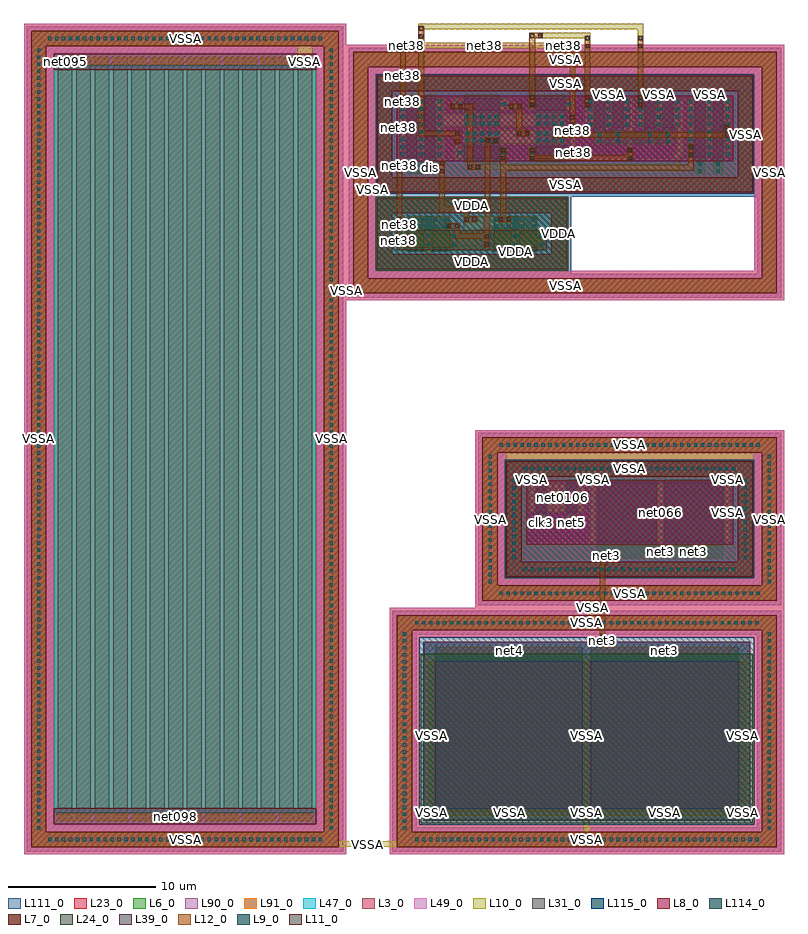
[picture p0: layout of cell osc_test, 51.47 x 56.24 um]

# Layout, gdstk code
import gdstk
lib = gdstk.Library(unit=1e-6, precision=1e-09)
def R(c, l, rs):  # rectangles x0, y0, x1, y1
    for r in rs: c.add(gdstk.rectangle(r[:2], r[2:], *l))
def A(c, l, x, y, w, h, nx, ny, dx, dy):  # array of equal rectangles
    R(c, l, [(x+i*dx, y+j*dy, x+i*dx+w, y+j*dy+h) for i in range(nx) for j in range(ny)])
L3_0 = (3, 0)
L6_0 = (6, 0)
L7_0 = (7, 0)
L8_0 = (8, 0)
L9_0 = (9, 0)
L10_0 = (10, 0)
L11_0 = (11, 0)
L12_0 = (12, 0)
L23_0 = (23, 0)
L24_0 = (24, 0)
L31_0 = (31, 0)
L39_0 = (39, 0)
L47_0 = (47, 0)
L49_0 = (49, 0)
L90_0 = (90, 0)
L91_0 = (91, 0)
L111_0 = (111, 0)
L114_0 = (114, 0)
L115_0 = (115, 0)

osc_testg_ic_cc2_ic_cc3 = lib.new_cell('osc_testG_IC_CC2_IC_CC3')
R(osc_testg_ic_cc2_ic_cc3, L3_0, [(25.27,0.5,50.97,1.5), (25.27,0.5,26.27,16.18), (49.97,0.5,50.97,16.18), (27.37,2.6,27.85,3.08), (27.85,2.6,37.85,3.08), (37.85,2.6,38.33,3.08), (37.91,2.6,38.39,3.08), (38.39,2.6,48.39,3.08), (48.39,2.6,48.87,3.08), (27.37,3.08,27.85,13.08), (27.85,3.08,37.85,13.08), (37.85,3.08,38.33,13.08), (37.91,3.08,38.39,13.08), (38.39,3.08,48.39,13.08), (48.39,3.08,48.87,13.08), (25.27,15.18,50.97,16.18)])
R(osc_testg_ic_cc2_ic_cc3, L6_0, [(27.85,3.08,37.85,13.08), (38.39,3.08,48.39,13.08), (27.85,13.08,37.85,13.58), (38.39,13.08,48.39,13.58), (27.85,13.58,37.85,14), (38.39,13.58,48.39,14)])
R(osc_testg_ic_cc2_ic_cc3, L7_0, [(25.25,0.48,50.99,1.52), (25.25,0.48,26.29,16.2), (49.95,0.48,50.99,16.2), (25.25,15.16,50.99,16.2)])
R(osc_testg_ic_cc2_ic_cc3, L8_0, [(27.07,2.3,38.63,14.38), (37.61,2.3,49.17,14.38)])
R(osc_testg_ic_cc2_ic_cc3, L10_0, [(25.27,0.5,50.97,1.5), (25.27,0.5,26.27,16.18), (49.97,0.5,50.97,16.18), (37.91,1.5,38.33,2.6), (27.37,2.6,27.79,3.02), (27.79,2.6,37.91,3.02), (37.91,2.6,38.33,3.02), (37.91,2.6,38.33,3.02), (38.33,2.6,48.45,3.02), (48.45,2.6,48.87,3.02), (27.37,3.02,27.79,13.08), (37.91,3.02,38.33,13.08), (37.91,3.02,38.33,13.08), (48.45,3.02,48.87,13.08), (28.45,13.58,37.25,14), (38.99,13.58,47.79,14), (25.27,15.18,50.97,16.18)])
R(osc_testg_ic_cc2_ic_cc3, L23_0, [(24.77,0,51.47,2), (24.77,0,26.77,16.68), (49.47,0,51.47,16.68), (24.77,14.68,51.47,16.68)])
R(osc_testg_ic_cc2_ic_cc3, L24_0, [(26.87,2.1,38.83,13.58), (37.41,2.1,49.37,13.58)])
R(osc_testg_ic_cc2_ic_cc3, L39_0, [(27.85,3.08,37.85,13.08), (38.39,3.08,48.39,13.08)])
R(osc_testg_ic_cc2_ic_cc3, L49_0, [(24.77,0,51.47,2), (24.77,0,26.77,16.68), (49.47,0,51.47,16.68), (24.77,14.68,51.47,16.68)])
R(osc_testg_ic_cc2_ic_cc3, L111_0, [(24.95,0.18,51.29,1.82), (24.95,0.18,26.59,16.5), (49.65,0.18,51.29,16.5), (27.05,2.28,38.65,14.4), (37.59,2.28,49.19,14.4), (24.95,14.86,51.29,16.5)])
R(osc_testg_ic_cc2_ic_cc3, L114_0, [(26.77,2,38.93,14.68), (26.77,2,49.47,14.68), (37.31,2,49.47,14.68)])
osc_testg_ic_cc2_ic_cc3.add(gdstk.Label('CC3', (32.85,8.34), layer=44, texttype=1))
osc_testg_ic_cc2_ic_cc3.add(gdstk.Label('CC2', (43.39,8.34), layer=44, texttype=1))

osc_testg_g_it_xnm23_1_i = lib.new_cell('osc_testG_G_IT_XNM23.1_IT_XNM23.2_IT_XNM10_IT_XNM33')
R(osc_testg_g_it_xnm23_1_i, L3_0, [(31.07,17.18,50.97,18.18), (31.07,17.18,32.07,28.22), (49.97,17.18,50.97,28.22), (32.69,18.8,49.35,19.8), (32.69,18.8,33.69,26.6), (48.35,18.8,49.35,26.6), (38.35,21.15,38.83,25.15), (38.83,21.15,42.83,25.15), (42.83,21.15,43.31,25.15), (42.89,21.15,43.37,25.15), (43.37,21.15,47.37,25.15), (47.37,21.15,47.85,25.15), (34.19,23.15,34.67,25.15), (34.67,23.15,35.37,25.15), (35.37,23.15,35.85,25.15), (36.27,23.15,36.75,25.15), (36.75,23.15,37.45,25.15), (37.45,23.15,37.93,25.15), (32.69,25.6,49.35,26.6), (31.07,27.22,50.97,28.22)])
R(osc_testg_g_it_xnm23_1_i, L6_0, [(38.83,20.03,42.83,20.92), (43.37,20.03,47.37,20.92), (38.83,20.92,42.83,21.15), (43.37,20.92,47.37,21.15), (38.83,21.15,42.83,25.15), (43.37,21.15,47.37,25.15), (34.67,22.03,35.37,22.92), (36.75,22.03,37.45,22.92), (34.67,22.92,35.37,23.15), (36.75,22.92,37.45,23.15), (34.67,23.15,35.37,25.15), (36.75,23.15,37.45,25.15), (34.67,25.15,35.37,25.37), (36.75,25.15,37.45,25.37), (38.83,25.15,42.83,25.37), (43.37,25.15,47.37,25.37)])
R(osc_testg_g_it_xnm23_1_i, L7_0, [(31.05,17.16,50.99,18.2), (31.05,17.16,32.09,28.24), (49.95,17.16,50.99,28.24), (32.67,18.78,49.37,19.82), (32.67,18.78,33.71,26.62), (48.33,18.78,49.37,26.62), (32.67,25.58,49.37,26.62), (31.05,27.2,50.99,28.24)])
R(osc_testg_g_it_xnm23_1_i, L8_0, [(34.01,20.97,48.03,25.33), (38.17,20.97,43.49,25.33), (42.71,20.97,48.03,25.33), (34.01,22.97,36.03,25.33), (36.03,22.97,36.09,25.33), (36.09,22.97,38.11,25.33), (38.11,22.97,38.17,25.33)])
A(osc_testg_g_it_xnm23_1_i, L10_0, 35.43, 23.15, 0.42, 2, 3, 1, 0.42, 0)
R(osc_testg_g_it_xnm23_1_i, L10_0, [(31.07,17.18,50.97,18.18), (31.07,17.18,32.07,28.22), (49.97,17.18,50.97,28.22), (32.69,18.8,49.35,19.8), (32.69,18.8,33.69,26.6), (48.35,18.8,49.35,26.6), (38.83,20.03,42.83,20.92), (42.83,20.03,43.37,20.92), (43.37,20.03,47.37,20.92), (38.35,21.15,38.77,25.15), (42.89,21.15,43.31,25.15), (42.89,21.15,43.31,25.15), (47.43,21.15,47.85,25.15), (34.67,22.03,35.37,22.92), (36.75,22.03,37.45,22.92), (34.19,23.15,34.61,25.15), (37.51,23.15,37.93,25.15), (34.19,25.15,34.61,25.6), (38.35,25.15,38.73,25.6), (47.43,25.15,47.81,25.6), (32.69,25.6,49.35,26.6), (32.69,26.6,49.35,27.22), (31.07,27.22,50.97,28.22)])
R(osc_testg_g_it_xnm23_1_i, L23_0, [(30.57,16.68,51.47,18.68), (30.57,16.68,32.57,28.72), (49.47,16.68,51.47,28.72), (32.57,18.68,49.47,26.72), (37.65,20.45,44.01,25.85), (42.19,20.45,48.55,25.85), (33.49,22.45,36.55,25.85), (35.57,22.45,38.63,25.85), (30.57,26.72,51.47,28.72)])
R(osc_testg_g_it_xnm23_1_i, L49_0, [(30.57,16.68,51.47,18.68), (30.57,16.68,32.57,28.72), (49.47,16.68,51.47,28.72), (30.57,26.72,51.47,28.72)])
R(osc_testg_g_it_xnm23_1_i, L111_0, [(30.75,16.86,51.29,18.5), (30.75,16.86,32.39,28.54), (49.65,16.86,51.29,28.54), (32.37,18.48,49.67,26.92), (33.87,20.83,48.17,25.47), (38.03,20.83,43.63,25.47), (42.57,20.83,48.17,25.47), (33.87,22.83,36.17,25.47), (35.95,22.83,38.25,25.47), (30.75,26.9,51.29,28.54)])
R(osc_testg_g_it_xnm23_1_i, L115_0, [(32.57,18.68,49.47,26.72), (37.65,20.45,44.01,25.85), (42.19,20.45,48.55,25.85), (33.49,22.45,36.55,25.85), (35.57,22.45,38.63,25.85)])
osc_testg_g_it_xnm23_1_i.add(gdstk.Label('XNM33', (37.1,23.94), layer=44, texttype=1))
osc_testg_g_it_xnm23_1_i.add(gdstk.Label('XNM10', (35.02,23.94), layer=44, texttype=1))
osc_testg_g_it_xnm23_1_i.add(gdstk.Label('XNM23.1', (40.83,22.94), layer=44, texttype=1))
osc_testg_g_it_xnm23_1_i.add(gdstk.Label('XNM23.2', (45.37,22.94), layer=44, texttype=1))

osc_testsr_rr15_rr16 = lib.new_cell('osc_testSR_RR15_RR16')
R(osc_testsr_rr15_rr16, L3_0, [(0.5,0.5,21.31,1.5), (0.5,0.5,1.5,55.74), (20.31,0.5,21.31,55.74), (0.5,54.74,21.31,55.74)])
A(osc_testsr_rr15_rr16, L6_0, 2.28, 2.28, 1, 0.84, 14, 2, 1.25, 50.84)
A(osc_testsr_rr15_rr16, L6_0, 2.28, 3.12, 1, 50, 14, 1, 1.25, 0)
R(osc_testsr_rr15_rr16, L7_0, [(0.48,0.48,21.33,1.52), (0.48,0.48,1.52,55.76), (20.29,0.48,21.33,55.76), (2.02,2.02,11.04,3.12), (10.77,2.02,19.79,3.12), (2.02,53.12,11.04,54.22), (10.77,53.12,19.79,54.22), (0.48,54.72,21.33,55.76)])
A(osc_testsr_rr15_rr16, L10_0, 2.28, 2.28, 1, 0.5, 14, 2, 1.25, 51.18)
A(osc_testsr_rr15_rr16, L10_0, 3.28, 2.28, 0.25, 0.5, 7, 1, 2.5, 0)
A(osc_testsr_rr15_rr16, L10_0, 4.53, 53.46, 0.25, 0.5, 6, 1, 2.5, 0)
R(osc_testsr_rr15_rr16, L10_0, [(0.5,0.5,21.31,1.5), (0.5,0.5,1.5,55.74), (20.31,0.5,21.31,55.74), (18.53,53.96,19.53,54.74), (0.5,54.74,21.31,55.74)])
R(osc_testsr_rr15_rr16, L23_0, [(0,0,21.81,2), (0,0,2,56.24), (19.81,0,21.81,56.24), (0,54.24,21.81,56.24)])
A(osc_testsr_rr15_rr16, L31_0, 2.28, 3.12, 1, 50, 14, 1, 1.25, 0)
R(osc_testsr_rr15_rr16, L47_0, [(2.06,2.82,11,53.42), (10.81,2.82,19.75,53.42)])
R(osc_testsr_rr15_rr16, L49_0, [(0,0,21.81,2), (0,0,2,56.24), (19.81,0,21.81,56.24), (0,54.24,21.81,56.24)])
R(osc_testsr_rr15_rr16, L90_0, [(2.02,2.02,11.04,54.22), (10.77,2.02,19.79,54.22)])
R(osc_testsr_rr15_rr16, L91_0, [(1.98,3.12,11.08,53.12), (10.73,3.12,19.83,53.12)])
R(osc_testsr_rr15_rr16, L111_0, [(0.18,0.18,21.63,1.82), (0.18,0.18,1.82,56.06), (19.99,0.18,21.63,56.06), (1.82,1.82,1.88,1.88), (1.88,1.82,10.905,1.88), (10.905,1.82,19.93,1.88), (19.93,1.82,19.99,1.88), (1.82,1.88,1.88,54.36), (1.88,1.88,11.18,54.36), (10.63,1.88,19.93,54.36), (19.93,1.88,19.99,54.36), (1.82,54.36,1.88,54.42), (1.88,54.36,10.905,54.42), (10.905,54.36,19.93,54.42), (19.93,54.36,19.99,54.42), (0.18,54.42,21.63,56.06)])
osc_testsr_rr15_rr16.add(gdstk.Label('RR16', (6.53,28.12), layer=44, texttype=1))
osc_testsr_rr15_rr16.add(gdstk.Label('RR15', (15.28,28.12), layer=44, texttype=1))

osc_testxi75 = lib.new_cell('osc_testXI75')
R(osc_testxi75, L3_0, [(22.31,38,50.97,39), (22.31,38,23.31,54.31), (49.97,38,50.97,54.31), (23.93,39.62,36.73,40.62), (23.93,39.62,24.93,44.42), (35.73,39.62,36.73,44.42), (25.43,41.07,25.91,42.07), (25.91,41.07,27.11,42.07), (27.11,41.07,27.27,42.07), (27.27,41.07,27.65,42.07), (27.65,41.07,28.85,42.07), (28.85,41.07,29.33,42.07), (31.33,41.07,31.81,42.07), (31.81,41.07,33.01,42.07), (33.01,41.07,33.39,42.07), (33.39,41.07,33.55,42.07), (33.55,41.07,34.75,42.07), (34.75,41.07,35.23,42.07), (23.93,43.42,36.73,44.42), (23.93,44.84,49.35,45.84), (23.93,44.84,24.93,52.69), (48.35,44.84,49.35,52.69), (29.33,47.1,29.81,47.9), (29.81,47.1,32.21,47.9), (32.21,47.1,32.69,47.9), (34.19,47.1,34.67,47.9), (34.67,47.1,36.67,47.9), (36.67,47.1,37.15,47.9), (25.43,47.19,25.91,51.19), (25.91,47.19,26.61,51.19), (26.61,47.19,26.77,51.19), (26.77,47.19,27.15,51.19), (27.15,47.19,27.85,51.19), (27.85,47.19,28.33,51.19), (44.95,47.19,45.43,51.19), (45.43,47.19,46.13,51.19), (46.13,47.19,46.51,51.19), (46.51,47.19,46.67,51.19), (46.67,47.19,47.37,51.19), (47.37,47.19,47.85,51.19), (38.15,49.19,38.63,51.19), (38.63,49.19,39.33,51.19), (39.33,49.19,39.71,51.19), (39.71,49.19,39.87,51.19), (39.87,49.19,40.57,51.19), (40.57,49.19,41.05,51.19), (41.55,49.19,42.03,51.19), (42.03,49.19,42.73,51.19), (42.73,49.19,42.89,51.19), (42.89,49.19,43.27,51.19), (43.27,49.19,43.97,51.19), (43.97,49.19,44.45,51.19), (29.33,50.39,29.81,51.19), (29.81,50.39,32.21,51.19), (32.21,50.39,32.69,51.19), (34.19,50.39,34.67,51.19), (34.67,50.39,36.67,51.19), (36.67,50.39,37.15,51.19), (23.93,51.69,49.35,52.69), (22.31,53.31,50.97,54.31)])
R(osc_testxi75, L6_0, [(25.91,40.85,27.11,41.07), (27.65,40.85,28.85,41.07), (31.81,40.85,33.01,41.07), (33.55,40.85,34.75,41.07), (25.91,41.07,27.11,42.07), (27.65,41.07,28.85,42.07), (31.81,41.07,33.01,42.07), (33.55,41.07,34.75,42.07), (25.91,42.07,27.11,42.3), (27.65,42.07,28.85,42.3), (31.81,42.07,33.01,42.3), (33.55,42.07,34.75,42.3), (25.91,42.3,27.11,43.19), (27.11,42.3,27.65,43.19), (27.65,42.3,28.85,43.19), (31.81,42.3,33.01,43.19), (33.01,42.3,33.55,43.19), (33.55,42.3,34.75,43.19), (25.91,46.07,26.61,46.96), (26.61,46.07,27.15,46.96), (27.15,46.07,27.85,46.96), (45.43,46.07,46.13,46.96), (46.67,46.07,47.37,46.96), (29.81,46.88,32.21,47.1), (34.67,46.88,36.67,47.1), (25.91,46.96,26.61,47.19), (27.15,46.96,27.85,47.19), (45.43,46.96,46.13,47.19), (46.67,46.96,47.37,47.19), (29.81,47.1,32.21,47.9), (34.67,47.1,36.67,47.9), (25.91,47.19,26.61,51.19), (27.15,47.19,27.85,51.19), (45.43,47.19,46.13,51.19), (46.67,47.19,47.37,51.19), (29.81,47.9,32.21,48.13), (34.67,47.9,36.67,48.13), (38.63,48.07,39.33,48.96), (39.33,48.07,39.87,48.96), (39.87,48.07,40.57,48.96), (40.57,48.07,42.03,48.96), (42.03,48.07,42.73,48.96), (42.73,48.07,43.27,48.96), (43.27,48.07,43.97,48.96), (29.81,48.13,32.21,49.02), (34.67,48.13,36.67,49.02), (38.63,48.96,39.33,49.19), (39.87,48.96,40.57,49.19), (42.03,48.96,42.73,49.19), (43.27,48.96,43.97,49.19), (38.63,49.19,39.33,51.19), (39.87,49.19,40.57,51.19), (42.03,49.19,42.73,51.19), (43.27,49.19,43.97,51.19), (29.81,49.27,32.21,50.16), (34.67,49.27,36.67,50.16), (29.81,50.16,32.21,50.39), (34.67,50.16,36.67,50.39), (29.81,50.39,32.21,51.19), (34.67,50.39,36.67,51.19), (25.91,51.19,26.61,51.41), (27.15,51.19,27.85,51.41), (29.81,51.19,32.21,51.41), (34.67,51.19,36.67,51.41), (38.63,51.19,39.33,51.41), (39.87,51.19,40.57,51.41), (42.03,51.19,42.73,51.41), (43.27,51.19,43.97,51.41), (45.43,51.19,46.13,51.41), (46.67,51.19,47.37,51.41)])
R(osc_testxi75, L7_0, [(22.29,37.98,50.99,39.02), (22.29,37.98,23.33,54.33), (49.95,37.98,50.99,54.33), (25.25,40.89,27.45,42.25), (25.25,40.89,35.41,42.25), (27.09,40.89,29.51,42.25), (31.15,40.89,33.57,42.25), (33.21,40.89,35.41,42.25), (23.91,44.82,49.37,45.86), (23.91,44.82,24.95,52.71), (48.33,44.82,49.37,52.71), (23.91,51.67,49.37,52.71), (22.29,53.29,50.99,54.33)])
R(osc_testxi75, L8_0, [(23.91,39.6,36.75,40.64), (23.91,39.6,24.95,44.44), (35.71,39.6,36.75,44.44), (23.91,43.4,36.75,44.44), (25.25,46.92,48.03,51.37), (29.15,46.92,32.87,48.08), (34.01,46.92,37.33,48.08), (25.25,47.01,26.95,51.37), (26.59,47.01,28.51,51.37), (44.77,47.01,46.69,51.37), (46.33,47.01,48.03,51.37), (37.97,49.01,39.89,51.37), (39.53,49.01,41.23,51.37), (41.37,49.01,43.07,51.37), (42.71,49.01,44.63,51.37), (29.15,50.21,32.87,51.37), (34.01,50.21,37.33,51.37)])
A(osc_testxi75, L9_0, 25.53, 41.17, 0.22, 0.22, 3, 2, 1.74, 0.58)
A(osc_testxi75, L9_0, 31.43, 41.17, 0.22, 0.22, 3, 2, 1.74, 0.58)
A(osc_testxi75, L9_0, 25.53, 47.29, 0.22, 0.22, 3, 6, 1.24, 0.51)
A(osc_testxi75, L9_0, 45.05, 47.29, 0.22, 0.22, 3, 6, 1.24, 0.51)
A(osc_testxi75, L9_0, 29.91, 48.23, 0.22, 0.22, 5, 2, 0.495, 0.47)
A(osc_testxi75, L9_0, 35.3, 48.23, 0.22, 0.22, 3, 2, 0.525, 0.47)
A(osc_testxi75, L9_0, 38.25, 49.29, 0.22, 0.22, 3, 3, 1.24, 0.525)
A(osc_testxi75, L9_0, 41.65, 49.29, 0.22, 0.22, 3, 3, 1.24, 0.525)
A(osc_testxi75, L9_0, 29.91, 49.37, 0.22, 0.22, 5, 2, 0.495, 0.47)
A(osc_testxi75, L9_0, 35.3, 49.37, 0.22, 0.22, 3, 2, 0.525, 0.47)
A(osc_testxi75, L9_0, 25.53, 50.355, 0.22, 0.22, 3, 2, 1.24, 0.515)
A(osc_testxi75, L9_0, 45.05, 50.355, 0.22, 0.22, 3, 2, 1.24, 0.515)
A(osc_testxi75, L9_0, 38.25, 50.87, 0.22, 0.22, 3, 1, 1.24, 0)
A(osc_testxi75, L9_0, 41.65, 50.87, 0.22, 0.22, 3, 1, 1.24, 0)
R(osc_testxi75, L9_0, [(26.01,42.4,26.23,42.62), (26.79,42.4,27.01,42.62), (27.75,42.4,27.97,42.62), (28.53,42.4,28.75,42.62), (31.91,42.4,32.13,42.62), (32.69,42.4,32.91,42.62), (33.65,42.4,33.87,42.62), (34.43,42.4,34.65,42.62), (26.01,42.87,26.23,43.09), (26.79,42.87,27.01,43.09), (27.75,42.87,27.97,43.09), (28.53,42.87,28.75,43.09), (31.91,42.87,32.13,43.09), (32.69,42.87,32.91,43.09), (33.65,42.87,33.87,43.09), (34.43,42.87,34.65,43.09), (26.15,46.17,26.37,46.39), (27.39,46.17,27.61,46.39), (45.67,46.17,45.89,46.39), (46.91,46.17,47.13,46.39), (26.15,46.64,26.37,46.86), (27.39,46.64,27.61,46.86), (45.67,46.64,45.89,46.86), (46.91,46.64,47.13,46.86), (29.43,47.39,29.65,47.61), (32.37,47.39,32.59,47.61), (34.29,47.39,34.51,47.61), (36.83,47.39,37.05,47.61), (38.87,48.17,39.09,48.39), (40.11,48.17,40.33,48.39), (42.27,48.17,42.49,48.39), (43.51,48.17,43.73,48.39), (34.77,48.23,34.99,48.45), (38.87,48.64,39.09,48.86), (40.11,48.64,40.33,48.86), (42.27,48.64,42.49,48.86), (43.51,48.64,43.73,48.86), (34.77,48.7,34.99,48.92), (34.77,49.37,34.99,49.59), (34.77,49.84,34.99,50.06), (29.43,50.68,29.65,50.9), (32.37,50.68,32.59,50.9), (34.29,50.68,34.51,50.9), (36.83,50.68,37.05,50.9)])
A(osc_testxi75, L10_0, 25.43, 41.07, 0.42, 1, 3, 1, 1.74, 0)
A(osc_testxi75, L10_0, 31.33, 41.07, 0.42, 1, 3, 1, 1.74, 0)
A(osc_testxi75, L10_0, 25.43, 47.19, 0.42, 4, 3, 1, 1.24, 0)
A(osc_testxi75, L10_0, 44.95, 47.19, 0.42, 4, 3, 1, 1.24, 0)
A(osc_testxi75, L10_0, 38.15, 49.19, 0.42, 2, 3, 1, 1.24, 0)
A(osc_testxi75, L10_0, 41.55, 49.19, 0.42, 2, 3, 1, 1.24, 0)
A(osc_testxi75, L10_0, 39.39, 51.19, 0.42, 0.5, 3, 1, 3.4, 0)
R(osc_testxi75, L10_0, [(22.31,38,50.97,39), (22.31,38,23.31,54.31), (49.97,38,50.97,54.31), (23.93,39.62,36.73,40.62), (23.93,39.62,24.93,44.42), (35.73,39.62,36.73,44.42), (27.17,40.62,27.59,41.07), (33.07,40.62,33.49,41.07), (25.25,41.07,25.43,42.07), (29.33,41.07,29.51,42.07), (31.15,41.07,31.33,42.07), (29.51,41.18,30.68,42.07), (29.79,41.18,30.68,43.19), (25.25,42.07,25.63,43.19), (25.91,42.3,27.11,43.19), (27.65,42.3,28.85,43.19), (29.79,42.3,33.01,43.19), (31.81,42.3,33.01,43.19), (33.55,42.3,34.75,43.19), (28.61,42.35,29.51,42.73), (23.93,43.42,36.73,44.42), (23.31,44.84,23.93,45.22), (23.93,44.84,49.35,45.84), (23.93,44.84,24.93,52.69), (48.35,44.84,49.35,52.69), (25.25,46.07,25.63,47.19), (25.91,46.07,26.61,46.96), (27.15,46.07,27.85,46.96), (28.13,46.07,28.51,47.19), (45.43,46.07,46.13,46.96), (46.67,46.07,47.37,46.96), (30.03,46.35,44.41,46.73), (30.03,46.35,44.41,46.73), (30.03,46.35,44.41,46.73), (44.03,46.73,44.41,47.62), (32.27,46.96,32.65,47.86), (34.23,46.96,34.61,47.86), (40.85,46.96,41.23,49.19), (29.15,47.1,29.33,47.9), (29.33,47.1,29.75,47.9), (32.27,47.1,32.69,47.9), (34.19,47.1,34.61,47.9), (36.73,47.1,37.15,47.9), (37.15,47.1,37.33,47.9), (25.25,47.19,25.43,51.19), (28.33,47.19,28.51,51.19), (44.99,47.19,45.37,48.14), (44.03,47.24,44.63,47.62), (44.25,47.24,44.63,49.19), (29.15,47.9,29.53,48.99), (36.95,47.9,37.33,50.11), (38.63,48.07,39.33,48.96), (39.87,48.07,40.57,48.96), (42.03,48.07,42.73,48.96), (43.27,48.07,43.97,48.96), (29.81,48.13,32.21,49.02), (32.21,48.13,34.67,49.02), (34.67,48.13,36.67,49.02), (31.21,48.14,32.11,48.52), (35.82,48.53,36.72,48.91), (37.97,49.19,38.15,51.19), (41.05,49.19,41.23,51.19), (44.45,49.19,44.63,51.19), (28.51,49.27,29.81,50.16), (29.81,49.27,32.21,50.16), (32.21,49.27,34.67,50.16), (34.67,49.27,36.67,50.16), (29.15,50.39,29.33,51.19), (29.33,50.39,29.75,51.19), (32.27,50.39,32.69,51.19), (32.69,50.39,32.87,51.19), (34.19,50.39,34.61,51.19), (36.73,50.39,37.15,51.19), (28.85,50.44,29.75,50.82), (32.83,50.44,33.73,50.82), (25.47,50.56,25.85,51.46), (34.23,50.56,34.61,51.46), (37.97,50.56,38.35,51.46), (41.55,50.56,41.93,51.46), (26.67,51.19,27.09,51.69), (23.93,51.69,49.35,52.69), (22.31,53.31,50.97,54.31), (37.97,54.54,38.35,55.44), (41.55,54.54,41.93,55.86), (25.47,54.59,36.97,54.97), (25.47,54.59,36.97,54.97), (25.47,54.59,36.97,54.97), (26.71,55.2,27.09,56.24), (34.23,55.25,38.35,55.63), (34.23,55.25,38.35,55.63), (34.23,55.25,38.35,55.63), (26.71,55.86,41.93,56.24)])
R(osc_testxi75, L11_0, [(31.21,41.18,31.47,41.44), (31.21,41.7,31.47,41.96), (25.31,42.35,25.57,42.61), (28.67,42.41,28.93,42.67), (29.19,42.41,29.45,42.67), (25.31,42.87,25.57,43.13), (29.85,42.87,30.11,43.13), (30.37,42.87,30.63,43.13), (32.17,42.87,32.43,43.13), (32.69,42.87,32.95,43.13), (25.31,46.13,25.57,46.39), (28.19,46.13,28.45,46.39), (30.09,46.41,30.35,46.67), (30.61,46.41,30.87,46.67), (25.31,46.65,25.57,46.91), (28.19,46.65,28.45,46.91), (32.33,47.02,32.59,47.28), (34.29,47.02,34.55,47.28), (40.91,47.02,41.17,47.28), (45.05,47.25,45.31,47.51), (32.33,47.54,32.59,47.8), (34.29,47.54,34.55,47.8), (40.91,47.54,41.17,47.8), (45.05,47.77,45.31,48.03), (29.21,48.15,29.47,48.41), (31.27,48.2,31.53,48.46), (31.79,48.2,32.05,48.46), (35.88,48.59,36.14,48.85), (36.4,48.59,36.66,48.85), (47.49,48.59,47.75,48.85), (29.21,48.67,29.47,48.93), (33.41,48.7,33.67,48.96), (33.93,48.7,34.19,48.96), (47.49,49.11,47.75,49.37), (37.01,49.27,37.27,49.53), (37.01,49.79,37.27,50.05), (28.91,50.5,29.17,50.76), (29.43,50.5,29.69,50.76), (32.89,50.5,33.15,50.76), (33.41,50.5,33.67,50.76), (25.53,50.62,25.79,50.88), (34.29,50.62,34.55,50.88), (38.03,50.62,38.29,50.88), (41.61,50.62,41.87,50.88), (25.53,51.14,25.79,51.4), (34.29,51.14,34.55,51.4), (38.03,51.14,38.29,51.4), (41.61,51.14,41.87,51.4), (38.03,54.6,38.29,54.86), (41.61,54.6,41.87,54.86), (25.53,54.65,25.79,54.91), (26.05,54.65,26.31,54.91), (36.13,54.65,36.39,54.91), (36.65,54.65,36.91,54.91), (38.03,55.12,38.29,55.38), (41.61,55.12,41.87,55.38), (26.77,55.26,27.03,55.52), (34.29,55.31,34.55,55.57), (34.81,55.31,35.07,55.57), (26.77,55.78,27.03,56.04)])
R(osc_testxi75, L12_0, [(31.15,41.12,31.53,42.81), (29.13,41.69,29.51,42.73), (29.13,41.69,31.53,42.07), (25.25,42.29,25.63,46.97), (28.61,42.35,29.51,42.73), (29.79,42.81,30.69,43.19), (29.79,42.81,30.17,43.85), (31.15,42.81,31.59,43.19), (31.21,42.81,31.59,48.52), (32.11,42.81,33.01,43.19), (32.27,42.81,32.65,47.86), (28.13,43.47,28.51,46.97), (28.13,43.47,30.17,43.85), (32.27,46.3,45.37,46.68), (44.99,46.3,45.37,48.09), (30.03,46.35,30.93,46.73), (30.03,46.35,30.41,50.82), (34.23,46.96,34.61,47.86), (34.23,46.96,41.23,47.34), (40.85,46.96,41.23,47.86), (29.15,48.09,29.53,48.99), (31.21,48.14,32.11,48.52), (35.82,48.53,47.81,48.91), (47.43,48.53,47.81,49.43), (26.71,48.61,27.09,56.1), (27.09,48.61,29.53,48.99), (33.35,48.64,34.25,49.02), (33.35,48.64,33.73,50.82), (36.95,49.21,37.33,54.97), (28.85,50.44,30.41,50.82), (32.83,50.44,33.73,50.82), (25.47,50.56,25.85,54.97), (34.23,50.56,34.61,55.63), (37.97,50.56,38.35,55.44), (41.55,50.56,41.93,55.44), (25.47,54.59,26.37,54.97), (36.07,54.59,36.97,54.97), (34.23,55.25,35.13,55.63)])
R(osc_testxi75, L23_0, [(21.81,37.5,51.47,39.5), (21.81,37.5,23.81,54.81), (49.47,37.5,51.47,54.81), (23.81,44.72,49.47,52.81), (28.63,46.4,33.39,48.6), (33.49,46.4,37.85,48.6), (24.73,46.49,27.47,51.89), (26.07,46.49,29.03,51.89), (44.25,46.49,47.21,51.89), (45.81,46.49,48.55,51.89), (37.45,48.49,40.41,51.89), (39.01,48.49,41.75,51.89), (40.85,48.49,43.59,51.89), (42.19,48.49,45.15,51.89), (28.63,49.69,33.39,51.89), (33.49,49.69,37.85,51.89), (21.81,52.81,51.47,54.81)])
R(osc_testxi75, L24_0, [(23.81,39.5,36.85,44.54), (24.73,40.37,27.97,42.77), (26.57,40.37,30.03,42.77), (30.63,40.37,34.09,42.77), (32.69,40.37,35.93,42.77)])
R(osc_testxi75, L49_0, [(21.81,37.5,51.47,39.5), (21.81,37.5,23.81,54.81), (49.47,37.5,51.47,54.81), (21.81,52.81,51.47,54.81)])
R(osc_testxi75, L111_0, [(21.99,37.68,51.29,39.32), (21.99,37.68,23.63,54.63), (49.65,37.68,51.29,54.63), (23.61,39.3,37.05,44.74), (25.11,39.88,35.55,42.39), (25.11,40.75,27.59,42.39), (26.95,40.75,29.65,42.39), (31.01,40.75,33.71,42.39), (33.07,40.75,35.55,42.39), (23.61,44.52,49.67,53.01), (25.11,45.91,48.17,52.38), (29.01,46.78,33.01,48.22), (33.87,46.78,37.47,48.22), (25.11,46.87,27.09,51.51), (26.45,46.87,28.65,51.51), (44.63,46.87,46.83,51.51), (46.19,46.87,48.17,51.51), (37.83,48.87,40.03,51.51), (39.39,48.87,41.37,51.51), (41.23,48.87,43.21,51.51), (42.57,48.87,44.77,51.51), (29.01,50.07,33.01,51.51), (33.87,50.07,37.47,51.51), (21.99,52.99,51.29,54.63)])
R(osc_testxi75, L115_0, [(23.81,39.5,36.85,44.54), (24.73,40.37,27.97,42.77), (26.57,40.37,30.03,42.77), (30.63,40.37,34.09,42.77), (32.69,40.37,35.93,42.77), (23.81,44.72,49.47,52.81), (28.63,46.4,33.39,48.6), (33.49,46.4,37.85,48.6), (24.73,46.49,27.47,51.89), (26.07,46.49,29.03,51.89), (44.25,46.49,47.21,51.89), (45.81,46.49,48.55,51.89), (37.45,48.49,40.41,51.89), (39.01,48.49,41.75,51.89), (40.85,48.49,43.59,51.89), (42.19,48.49,45.15,51.89), (28.63,49.69,33.39,51.89), (33.49,49.69,37.85,51.89)])

osc_test = lib.new_cell('osc_test')
A(osc_test, L9_0, 1.63, 0.89, 0.22, 0.22, 40, 2, 0.47, 54.24)
A(osc_test, L9_0, 26.495, 0.89, 0.22, 0.22, 50, 2, 0.47, 14.68)
A(osc_test, L9_0, 25.66, 1.65, 0.22, 0.22, 1, 29, 0, 0.47)
A(osc_test, L9_0, 50.36, 1.65, 0.22, 0.22, 1, 29, 0, 0.47)
A(osc_test, L9_0, 0.89, 1.69, 0.22, 0.22, 1, 113, 0, 0.47)
A(osc_test, L9_0, 20.7, 1.69, 0.22, 0.22, 1, 113, 0, 0.47)
A(osc_test, L9_0, 32.215, 17.57, 0.22, 0.22, 38, 2, 0.47, 10.04)
A(osc_test, L9_0, 31.46, 18.36, 0.22, 0.22, 1, 19, 0, 0.47)
A(osc_test, L9_0, 50.36, 18.36, 0.22, 0.22, 1, 19, 0, 0.47)
A(osc_test, L9_0, 33.86, 19.19, 0.22, 0.22, 31, 2, 0.47, 6.8)
A(osc_test, L9_0, 33.08, 20.005, 0.22, 0.22, 1, 12, 0, 0.47)
A(osc_test, L9_0, 48.74, 20.005, 0.22, 0.22, 1, 12, 0, 0.47)
R(osc_test, L10_0, [(21.31,0.5,25.27,0.88), (38.99,14,39.37,14.95), (38.33,16.18,38.71,17.18), (38.99,20.03,39.89,20.41), (21.31,38,22.31,38.38)])
R(osc_test, L11_0, [(39.05,14.11,39.31,14.37), (39.05,14.63,39.31,14.89), (39.05,20.09,39.31,20.35), (39.57,20.09,39.83,20.35)])
R(osc_test, L12_0, [(38.99,14.05,39.37,20.41), (38.99,20.03,39.89,20.41)])
osc_test.add(gdstk.Reference(osc_testg_ic_cc2_ic_cc3, (0,0)))
osc_test.add(gdstk.Reference(osc_testg_g_it_xnm23_1_i, (0,0)))
osc_test.add(gdstk.Reference(osc_testsr_rr15_rr16, (0,0)))
osc_test.add(gdstk.Reference(osc_testxi75, (0,0)))
osc_test.add(gdstk.Label('VSSA', (23.29,0.69), layer=10, texttype=1))
osc_test.add(gdstk.Label('VSSA', (38.52,16.68), layer=10, texttype=1))
osc_test.add(gdstk.Label('VSSA', (21.81,38.19), layer=10, texttype=1))
osc_test.add(gdstk.Label('net3', (39.18,14.475), layer=10, texttype=1))
osc_test.add(gdstk.Label('net3', (39.44,20.22), layer=10, texttype=1))
osc_test.add(gdstk.Label('net3', (39.18,17.23), layer=12, texttype=1))
osc_test.add(gdstk.Label('net3', (39.44,20.22), layer=12, texttype=1))
osc_test.add(gdstk.Label('VSSA', (38.12,8.05), layer=10, texttype=1))
osc_test.add(gdstk.Label('VSSA', (38.12,2.81), layer=10, texttype=1))
osc_test.add(gdstk.Label('VSSA', (32.85,2.81), layer=10, texttype=1))
osc_test.add(gdstk.Label('VSSA', (27.58,8.05), layer=10, texttype=1))
osc_test.add(gdstk.Label('VSSA', (27.58,2.81), layer=10, texttype=1))
osc_test.add(gdstk.Label('net4', (32.85,13.79), layer=10, texttype=1))
osc_test.add(gdstk.Label('VSSA', (48.66,8.05), layer=10, texttype=1))
osc_test.add(gdstk.Label('VSSA', (48.66,2.81), layer=10, texttype=1))
osc_test.add(gdstk.Label('VSSA', (43.39,2.81), layer=10, texttype=1))
osc_test.add(gdstk.Label('VSSA', (38.12,8.05), layer=10, texttype=1))
osc_test.add(gdstk.Label('VSSA', (38.12,2.81), layer=10, texttype=1))
osc_test.add(gdstk.Label('net3', (43.39,13.79), layer=10, texttype=1))
osc_test.add(gdstk.Label('VSSA', (38.12,1), layer=10, texttype=1))
osc_test.add(gdstk.Label('VSSA', (50.47,8.34), layer=10, texttype=1))
osc_test.add(gdstk.Label('VSSA', (25.77,8.34), layer=10, texttype=1))
osc_test.add(gdstk.Label('VSSA', (38.12,15.68), layer=10, texttype=1))
osc_test.add(gdstk.Label('VSSA', (38.12,2.05), layer=10, texttype=1))
osc_test.add(gdstk.Label('net0106', (36.48,24.15), layer=10, texttype=1))
osc_test.add(gdstk.Label('net6', (37.72,24.15), layer=10, texttype=1))
osc_test.add(gdstk.Label('net5', (37.1,22.475), layer=10, texttype=1))
osc_test.add(gdstk.Label('VSSA', (34.4,24.15), layer=10, texttype=1))
osc_test.add(gdstk.Label('net0106', (35.64,24.15), layer=10, texttype=1))
osc_test.add(gdstk.Label('clk3', (35.02,22.475), layer=10, texttype=1))
osc_test.add(gdstk.Label('VSSA', (38.56,23.15), layer=10, texttype=1))
osc_test.add(gdstk.Label('net066', (43.1,23.15), layer=10, texttype=1))
osc_test.add(gdstk.Label('net3', (40.83,20.475), layer=10, texttype=1))
osc_test.add(gdstk.Label('VSSA', (47.64,23.15), layer=10, texttype=1))
osc_test.add(gdstk.Label('net066', (43.1,23.15), layer=10, texttype=1))
osc_test.add(gdstk.Label('net3', (45.37,20.475), layer=10, texttype=1))
osc_test.add(gdstk.Label('VSSA', (41.02,26.1), layer=10, texttype=1))
osc_test.add(gdstk.Label('VSSA', (33.19,22.7), layer=10, texttype=1))
osc_test.add(gdstk.Label('VSSA', (48.85,22.7), layer=10, texttype=1))
osc_test.add(gdstk.Label('VSSA', (41.02,19.3), layer=10, texttype=1))
osc_test.add(gdstk.Label('VSSA', (41.02,27.72), layer=10, texttype=1))
osc_test.add(gdstk.Label('VSSA', (31.57,22.7), layer=10, texttype=1))
osc_test.add(gdstk.Label('VSSA', (50.47,22.7), layer=10, texttype=1))
osc_test.add(gdstk.Label('VSSA', (41.02,17.68), layer=10, texttype=1))
osc_test.add(gdstk.Label('net0106', (36.06,24.15), layer=10, texttype=1))
osc_test.add(gdstk.Label('VSSA', (34.4,25.375), layer=10, texttype=1))
osc_test.add(gdstk.Label('VSSA', (41.02,26.91), layer=10, texttype=1))
osc_test.add(gdstk.Label('VSSA', (47.62,25.375), layer=10, texttype=1))
osc_test.add(gdstk.Label('VSSA', (38.54,25.375), layer=10, texttype=1))
osc_test.add(gdstk.Label('net3', (43.1,20.475), layer=10, texttype=1))
osc_test.add(gdstk.Label('net095', (2.78,53.71), layer=10, texttype=1))
osc_test.add(gdstk.Label('net098', (10.28,2.53), layer=10, texttype=1))
osc_test.add(gdstk.Label('net098', (11.53,2.53), layer=10, texttype=1))
osc_test.add(gdstk.Label('VSSA', (19.03,53.71), layer=10, texttype=1))
osc_test.add(gdstk.Label('VSSA', (10.905,1), layer=10, texttype=1))
osc_test.add(gdstk.Label('VSSA', (1,28.12), layer=10, texttype=1))
osc_test.add(gdstk.Label('VSSA', (10.905,55.24), layer=10, texttype=1))
osc_test.add(gdstk.Label('VSSA', (20.81,28.12), layer=10, texttype=1))
osc_test.add(gdstk.Label('net098', (10.905,2.53), layer=10, texttype=1))
osc_test.add(gdstk.Label('VSSA', (19.03,54.35), layer=10, texttype=1))
osc_test.add(gdstk.Label('net38', (25.44,42.63), layer=10, texttype=1))
osc_test.add(gdstk.Label('net38', (25.44,46.63), layer=10, texttype=1))
osc_test.add(gdstk.Label('net38', (25.66,51.01), layer=10, texttype=1))
osc_test.add(gdstk.Label('net38', (31.22,54.78), layer=10, texttype=1))
osc_test.add(gdstk.Label('net38', (31.22,54.78), layer=10, texttype=1))
osc_test.add(gdstk.Label('net38', (37.14,49.005), layer=10, texttype=1))
osc_test.add(gdstk.Label('net38', (31.22,54.78), layer=10, texttype=1))
osc_test.add(gdstk.Label('net38', (25.34,49.19), layer=10, texttype=1))
osc_test.add(gdstk.Label('net38', (37.24,47.5), layer=10, texttype=1))
osc_test.add(gdstk.Label('net38', (25.34,41.57), layer=10, texttype=1))
osc_test.add(gdstk.Label('VSSA', (26.88,51.44), layer=10, texttype=1))
osc_test.add(gdstk.Label('VSSA', (46.4,51.44), layer=10, texttype=1))
osc_test.add(gdstk.Label('VSSA', (43,51.44), layer=10, texttype=1))
osc_test.add(gdstk.Label('VSSA', (39.6,51.44), layer=10, texttype=1))
osc_test.add(gdstk.Label('VSSA', (23.62,45.03), layer=10, texttype=1))
osc_test.add(gdstk.Label('VDDA', (27.38,40.845), layer=10, texttype=1))
osc_test.add(gdstk.Label('VDDA', (33.28,40.845), layer=10, texttype=1))
osc_test.add(gdstk.Label('dis', (27.5,46.515), layer=10, texttype=1))
osc_test.add(gdstk.Label('dis', (26.26,46.515), layer=10, texttype=1))
osc_test.add(gdstk.Label('VDDA', (30.33,40.12), layer=10, texttype=1))
osc_test.add(gdstk.Label('VDDA', (24.43,42.02), layer=10, texttype=1))
osc_test.add(gdstk.Label('VDDA', (30.33,43.92), layer=10, texttype=1))
osc_test.add(gdstk.Label('VDDA', (36.23,42.02), layer=10, texttype=1))
osc_test.add(gdstk.Label('VSSA', (36.64,52.19), layer=10, texttype=1))
osc_test.add(gdstk.Label('VSSA', (24.43,48.765), layer=10, texttype=1))
osc_test.add(gdstk.Label('VSSA', (36.64,45.34), layer=10, texttype=1))
osc_test.add(gdstk.Label('VSSA', (48.85,48.765), layer=10, texttype=1))
osc_test.add(gdstk.Label('VSSA', (36.64,38.5), layer=10, texttype=1))
osc_test.add(gdstk.Label('VSSA', (22.81,46.155), layer=10, texttype=1))
osc_test.add(gdstk.Label('VSSA', (36.64,53.81), layer=10, texttype=1))
osc_test.add(gdstk.Label('VSSA', (50.47,46.155), layer=10, texttype=1))
osc_test.add(gdstk.Label('net38', (25.44,44.63), layer=12, texttype=1))
osc_test.add(gdstk.Label('net38', (25.66,52.765), layer=12, texttype=1))
osc_test.add(gdstk.Label('net38', (25.92,54.78), layer=12, texttype=1))
osc_test.add(gdstk.Label('net38', (36.52,54.78), layer=12, texttype=1))
osc_test.add(gdstk.Label('net38', (37.14,52.09), layer=12, texttype=1))

lib.write_gds('osc_test.gds')
